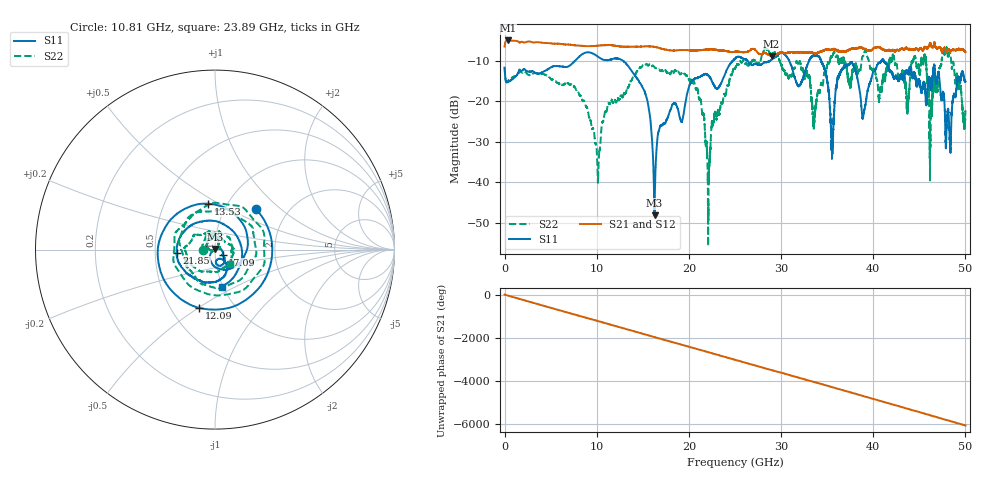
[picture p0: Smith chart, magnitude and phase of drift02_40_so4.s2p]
!Created with skrf (http://scikit-rf.org).
# Hz S RI R 50.0
!freq ReS11 ImS11 ReS21 ImS21 ReS12 ImS12 ReS22 ImS22
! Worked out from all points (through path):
!   10001 points, 300 kHz to 50 GHz, reference 50 ohm
!   highest |S21| = -5.04 dB at 375.3 MHz (marker M1); lowest = -8.9 dB at 28.98 GHz (marker M2)
!   group delay of S21, straight-line fit = 336 ps
!   lowest |S11| = -48.2 dB at 16.27 GHz (marker M3), VSWR 1.01, Z = 49.9 + j0.381 ohm
!   |S11| at or under -10 dB: start of sweep to 7.667 GHz; 12.82 GHz to 24.78 GHz (11.96 GHz wide, 63.6 % of centre); 41.13 GHz to end of sweep (the widest 3 of 11)
!   |S22| runs from -55.8 to -6.7 dB; largest |S21 - S12| = 0.031
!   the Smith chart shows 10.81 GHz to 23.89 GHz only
!   S11 on the Smith chart (normalised r, x): 10.81 GHz: 1.38, +0.70; 12.09 GHz: 0.69, -0.51; 13.53 GHz: 0.82, +0.45; 17.09 GHz: 1.09, -0.06; 21.85 GHz: 0.65, -0.03; 23.89 GHz: 0.98, -0.43
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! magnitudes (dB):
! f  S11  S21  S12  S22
! 300 kHz  -11.7  -6.5  -6.5  -11.7
! 375.3 MHz  -15.2  -5.0  -5.0  -15.0
! 8.335 GHz  -8.6  -6.4  -6.4  -19.1
! 10.11 GHz  -9.0  -6.3  -6.3  -38.9
! 10.81 GHz  -9.9  -6.2  -6.2  -23.6
! 12.09 GHz  -9.5  -6.4  -6.4  -20.4
! 13.53 GHz  -11.7  -6.6  -6.6  -16.0
! 16.27 GHz  -48.2  -6.6  -6.6  -11.7
! 16.67 GHz  -27.8  -6.8  -6.8  -12.2
! 17.09 GHz  -25.9  -7.1  -7.1  -12.4
! 21.85 GHz  -13.4  -7.3  -7.3  -31.0
! 23.89 GHz  -13.5  -7.6  -7.6  -18.5
! 25 GHz  -9.5  -7.8  -7.9  -11.9
! 28.98 GHz  -9.8  -8.9  -8.9  -8.0
! 33.34 GHz  -9.0  -8.0  -8.0  -19.9
! 35.54 GHz  -32.9  -7.3  -7.3  -9.1
! 36.78 GHz  -11.9  -7.8  -7.8  -9.9
! 41.67 GHz  -11.9  -7.4  -7.5  -11.7
! 45.49 GHz  -15.6  -7.1  -7.0  -9.6
! 46.25 GHz  -17.2  -6.1  -6.1  -22.4
! 48.12 GHz  -22.4  -7.2  -7.2  -9.0
! 50 GHz  -15.2  -7.9  -7.9  -22.7
